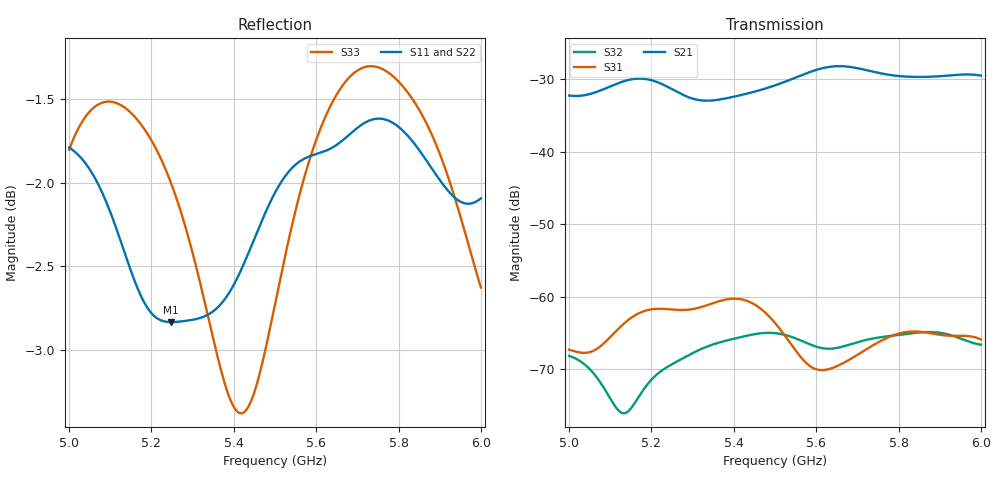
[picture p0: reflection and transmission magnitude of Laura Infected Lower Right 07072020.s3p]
! TOUCHSTONE file generated by CST MICROWAVE STUDIO
! Date and time: Thu Jul  9 09:38:17 2020
! Project name: Female Human Lung Lower Right.cst
! Header version: 2018
! Port assignment regex: !\s*Touchstone port\s*([0-9]+)\s*=\s*(CST MWS port|CST DS port)\s*([0-9]+|Zmin|Zmax)\s*\(\"(.*)\"\)(\s*mode\s*([0-9]+))?.*
! Touchstone port assignment:
! Touchstone port 1 = CST MWS port 1 ("")
! Touchstone port 2 = CST MWS port 2 ("")
! Touchstone port 3 = CST MWS port 3 ("")
# GHz S RI R 50
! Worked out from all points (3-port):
!   1001 points, 5 GHz to 6 GHz, reference 50 ohm
!   strongest paths, dB at 5 GHz, 5.25 GHz, 5.5 GHz, 5.75 GHz, 6 GHz:
!     S21: -32.2, -31.3, -30.8, -29.1, -29.5
!     S31: -67.3, -61.8, -63.6, -66.3, -65.9
!     S32: -68.2, -69.3, -65.0, -65.6, -66.6
!   lowest |S11| = -2.8 dB at 5.248 GHz (marker M1), VSWR 6.19, Z = 309 - j10.2 ohm
!   |S11| at or under -10 dB: nowhere
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5  0.8125 -0.0479  0.0142 -0.0199  -0.000111 0.000415
   0.0142 -0.0199  0.8021 -0.0449  0.000378 0.000111
   -0.000122 0.000414  0.000375 0.00011  0.8111 0.0489
5.055  0.7976 -0.0612  0.00687 -0.0244  0.000139 0.000392
       0.00686 -0.0243  0.7909 -0.055  0.000226 -0.000207
       0.000145 0.000394  0.000227 -0.000205  0.8353 0.0209
5.132  0.7561 -0.0639  -0.0121 -0.0282  0.000643 0.000103
       -0.0121 -0.0282  0.7562 -0.0612  2.69e-05 -0.000156
       0.000641 0.000106  2.56e-05 -0.000155  0.8368 -0.021
5.248  0.7216 -0.00788  -0.027 0.00353  -0.000363 -0.000735
       -0.0271 0.00353  0.7052 0.00128  -0.000296 -0.000167
       -0.000364 -0.000733  -0.000297 -0.000167  0.7913 -0.0644
5.322  0.7237 0.0223  -0.0182 0.0135  -0.000846 8.7e-05
       -0.0182 0.0135  0.7256 0.0522  -0.000349 0.000265
       -0.000848 8.54e-05  -0.000349 0.000264  0.7354 -0.0634
5.414  0.7438 0.0619  -0.00784 0.0233  0.00027 0.000929
       -0.00784 0.0233  0.7768 0.0672  0.000294 0.000435
       0.000271 0.000927  0.000295 0.000435  0.6777 0.013
5.5  0.7857 0.0713  0.0101 0.027  0.000594 -0.000285
     0.0101 0.027  0.8025 0.0477  0.000491 -0.000272
     0.000596 -0.000286  0.000491 -0.000272  0.7238 0.0993
5.612  0.8095 0.0509  0.0374 0.00398  -3.12e-05 -0.00031
       0.0374 0.00398  0.7966 0.0363  -0.000271 -0.000352
       -3e-05 -0.000311  -0.000271 -0.000352  0.8195 0.0991
5.812  0.823 0.00712  -0.0137 -0.0302  -0.000238 0.000513
       -0.0137 -0.0302  0.8188 0.0157  0.000218 0.000506
       -0.000237 0.000516  0.000218 0.000507  0.8485 -0.00695
6  0.7854 0.0268  -0.0247 0.0228  0.000258 -0.000444
   -0.0247 0.0228  0.7851 0.019  -0.000122 -0.000448
   0.000244 -0.000446  -0.000125 -0.00045  0.7388 -0.0191
